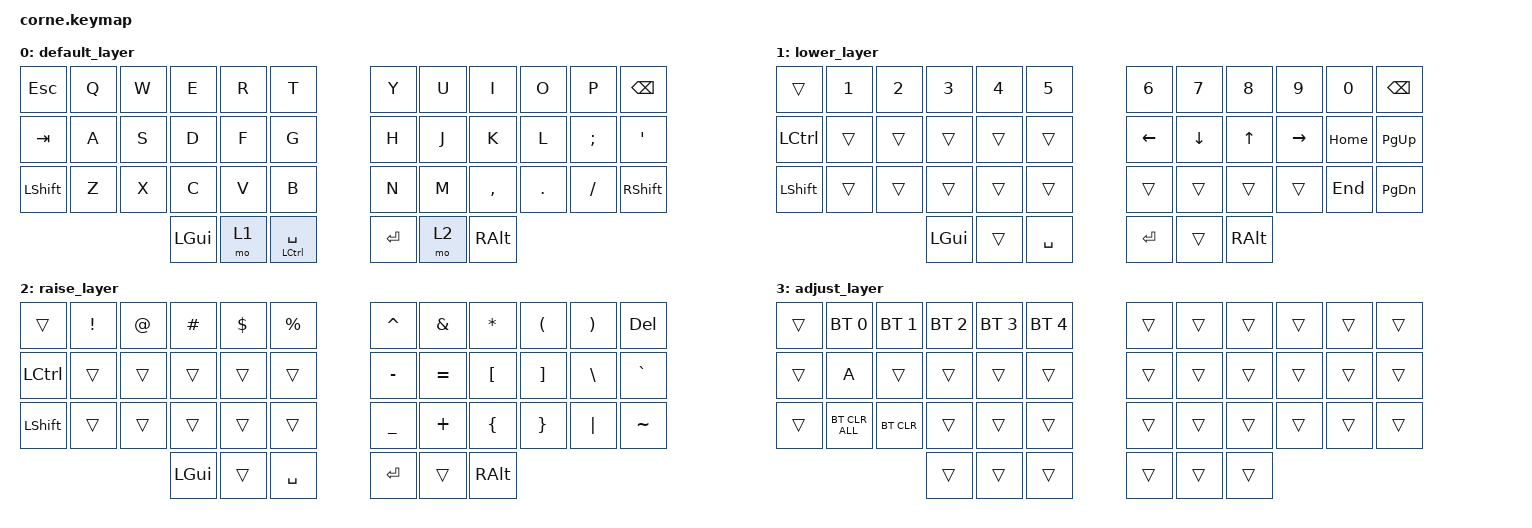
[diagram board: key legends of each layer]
/*
 * Copyright (c) 2020 The ZMK Contributors
 *
 * SPDX-License-Identifier: MIT
 */

#include <behaviors.dtsi>
#include <dt-bindings/zmk/bt.h>
#include <dt-bindings/zmk/keys.h>

/ {
    behaviors {
        hold_ctrl_tap_space: hold_ctrl_tap_space {
            compatible = "zmk,behavior-hold-tap";
            label = "HOLD_CTRL_TAP_SPACE";
            bindings = <&kp>, <&kp>;

            #binding-cells = <2>;
            hold-trigger-key-positions = <38>;
            tapping-term-ms = <150>;
        };
    };

    keymap {
        compatible = "zmk,keymap";

        default_layer {
            // -----------------------------------------------------------------------------------------
            // |  TAB |  Q  |  W  |  E  |  R  |  T  |   |  Y  |  U   |  I  |  O  |  P  | BSPC |
            // | CTRL |  A  |  S  |  D  |  F  |  G  |   |  H  |  J   |  K  |  L  |  ;  |  '   |
            // | SHFT |  Z  |  X  |  C  |  V  |  B  |   |  N  |  M   |  ,  |  .  |  /  | ESC  |
            //                    | GUI | LWR | SPC |   | ENT | RSE  | ALT |

            bindings = <
&kp ESCAPE  &kp Q  &kp W  &kp E     &kp R  &kp T                                      &kp Y    &kp U  &kp I      &kp O    &kp P     &kp BSPC
&kp TAB     &kp A  &kp S  &kp D     &kp F  &kp G                                      &kp H    &kp J  &kp K      &kp L    &kp SEMI  &kp SQT
&kp LSHFT   &kp Z  &kp X  &kp C     &kp V  &kp B                                      &kp N    &kp M  &kp COMMA  &kp DOT  &kp FSLH  &kp RIGHT_SHIFT
                          &kp LGUI  &mo 1  &hold_ctrl_tap_space LEFT_CONTROL SPACE    &kp RET  &mo 2  &kp RALT
            >;
        };

        lower_layer {
            // -----------------------------------------------------------------------------------------
            // |  TAB |  1  |  2  |  3  |  4  |  5  |   |  6  |  7  |  8  |  9  |  0  | BSPC |
            // | BTCLR| BT1 | BT2 | BT3 | BT4 | BT5 |   | LFT | DWN |  UP | RGT |     |      |
            // | SHFT |     |     |     |     |     |   |     |     |     |     |     |      |
            //                    | GUI |     | SPC |   | ENT |     | ALT |

            bindings = <
&trans            &kp N1  &kp N2  &kp N3    &kp N4  &kp N5       &kp N6    &kp N7    &kp N8    &kp N9     &kp N0    &kp BSPC
&kp LEFT_CONTROL  &trans  &trans  &trans    &trans  &trans       &kp LEFT  &kp DOWN  &kp UP    &kp RIGHT  &kp HOME  &kp PAGE_UP
&kp LSHFT         &trans  &trans  &trans    &trans  &trans       &trans    &trans    &trans    &trans     &kp END   &kp PAGE_DOWN
                                  &kp LGUI  &trans  &kp SPACE    &kp RET   &trans    &kp RALT
            >;
        };

        raise_layer {
            // -----------------------------------------------------------------------------------------
            // |  TAB |  !  |  @  |  #  |  $  |  %  |   |  ^  |  &  |  *  |  (  |  )  | BSPC |
            // | CTRL |     |     |     |     |     |   |  -  |  =  |  [  |  ]  |  \  |  `   |
            // | SHFT |     |     |     |     |     |   |  _  |  +  |  {  |  }  | "|" |  ~   |
            //                    | GUI |     | SPC |   | ENT |     | ALT |

            bindings = <
&trans     &kp EXCL  &kp AT  &kp HASH  &kp DLLR  &kp PRCNT    &kp CARET  &kp AMPS   &kp ASTRK  &kp LPAR  &kp RPAR  &kp DEL
&kp LCTRL  &trans    &trans  &trans    &trans    &trans       &kp MINUS  &kp EQUAL  &kp LBKT   &kp RBKT  &kp BSLH  &kp GRAVE
&kp LSHFT  &trans    &trans  &trans    &trans    &trans       &kp UNDER  &kp PLUS   &kp LBRC   &kp RBRC  &kp PIPE  &kp TILDE
                             &kp LGUI  &trans    &kp SPACE    &kp RET    &trans     &kp RALT
            >;
        };

        adjust_layer {
            bindings = <
&trans  &bt BT_SEL 0    &bt BT_SEL 1  &bt BT_SEL 2  &bt BT_SEL 3  &bt BT_SEL 4    &trans  &trans  &trans  &trans  &trans  &trans
&trans  &kp A           &trans        &trans        &trans        &trans          &trans  &trans  &trans  &trans  &trans  &trans
&trans  &bt BT_CLR_ALL  &bt BT_CLR    &trans        &trans        &trans          &trans  &trans  &trans  &trans  &trans  &trans
                                      &trans        &trans        &trans          &trans  &trans  &trans
            >;
        };
    };

    conditional_layers {
        compatible = "zmk,conditional-layers";

        if_lower_and_raise_then_adjust {
            if-layers = <1 2>;
            then-layer = <3>;
        };
    };
};
